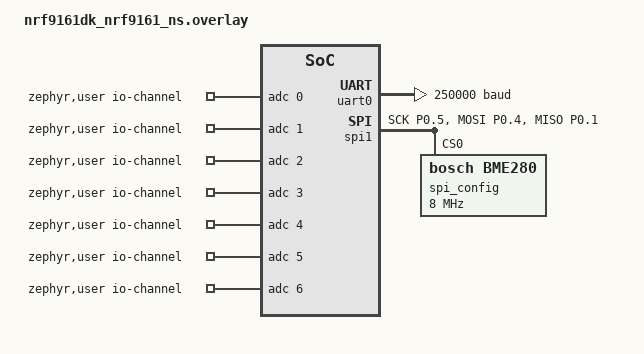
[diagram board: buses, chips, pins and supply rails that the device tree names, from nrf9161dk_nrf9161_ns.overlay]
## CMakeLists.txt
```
#
# Copyright (c) 2018 Nordic Semiconductor ASA
#
# SPDX-License-Identifier: LicenseRef-Nordic-5-Clause
#

cmake_minimum_required(VERSION 3.20.0)

find_package(Zephyr REQUIRED HINTS $ENV{ZEPHYR_BASE})
project(cellular_fundamentals)

# NORDIC SDK APP START
target_sources(app PRIVATE src/drivers/APS6404L.c)
target_sources(app PRIVATE src/drivers/bme280.c)
target_sources(app PRIVATE src/mqtt_connection.c)
target_sources(app PRIVATE src/log_ram_backend.c)
target_sources(app PRIVATE src/eeprom_emul.c)
target_sources(app PRIVATE src/main.c)
target_sources(app PRIVATE src/unit_lib.c)
# NORDIC SDK APP END
```

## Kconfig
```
#
# Copyright (c) 2020 Nordic Semiconductor ASA
#
# SPDX-License-Identifier: LicenseRef-Nordic-5-Clause
#

menu "Cellfund Lesson 4 Exercise"

config MQTT_PUB_TOPIC
	string "MQTT publish topic"
	default "NRF/XX/UP_STREAM"


config MQTT_PUB_SYS_TOPIC
    string "MQTT publish system topic"
    default "NRF/XX/UP_STREAM_SYS"
    help
      MQTT topic used for system uplink messages

config MQTT_PUB_SYS_LOG_TOPIC
    string "MQTT publish system log topic"
    default "NRF/XX/UP_STREAM_SYS_LOG"
    help
      MQTT topic used for system uplink messages



config MQTT_SUB_TOPIC
	string "MQTT subscribe topic"
	default "NRF/XX/DOWN_STREAM"

config MQTT_CLIENT_ID
	string "MQTT Client ID"
	help
	  Use a custom Client ID string. If not set, the client ID will be
	  generated based on IMEI number (for nRF91 Series based targets) or
	  randomly (for other platforms).
	default ""

config MQTT_BROKER_HOSTNAME
	string "MQTT broker hostname"
	default "mqtt.nordicsemi.academy"

config MQTT_BROKER_PORT
	int "MQTT broker port"
	default 1883

config MQTT_MESSAGE_BUFFER_SIZE
	int "MQTT message buffer size"
	default 128

config MQTT_PAYLOAD_BUFFER_SIZE
	int "MQTT payload buffer size"
	default 128

config BUTTON_EVENT_PUBLISH_MSG
	string "The message to publish on a button event"
	default "Hi from nRF91 Series device"

config TURN_LED_ON_CMD
	string "Command to turn on LED"
	default "LED1ON"

config TURN_LED_OFF_CMD
	string "Command to turn off LED"
	default "LED1OFF"

config MQTT_RECONNECT_DELAY_S
	int "Seconds to delay before attempting to reconnect to the broker."
	default 60

endmenu

source "Kconfig.zephyr"
```

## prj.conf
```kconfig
#
# Copyright (c) 2020 Nordic Semiconductor ASA
#
# SPDX-License-Identifier: LicenseRef-Nordic-5-Clause
#

# Logging
CONFIG_LOG=y
CONFIG_LOG_MODE_DEFERRED=y
CONFIG_LOG_BUFFER_SIZE=4096
CONFIG_LOG_BACKEND_UART=y
CONFIG_TFM_LOG_LEVEL_SILENCE=y
CONFIG_UART_CONSOLE=y
CONFIG_RING_BUFFER=y
CONFIG_LOG_PRINTK=n

CONFIG_CBPRINTF_FP_SUPPORT=y
CONFIG_RESET_ON_FATAL_ERROR=n
CONFIG_TFM_SECURE_UART=n





CONFIG_CLOCK_CONTROL=y
CONFIG_CLOCK_CONTROL_NRF=y




# Flash + EEPROM emulation
CONFIG_FLASH=y
CONFIG_FLASH_MAP=y
CONFIG_NVS=y

CONFIG_NVS_LOG_LEVEL_INF=y

# Pokud používáš externí SPI flash
##CONFIG_SPI=y
CONFIG_FLASH_PAGE_LAYOUT=y





# Button and LED support
CONFIG_DK_LIBRARY=y

# Newlib
CONFIG_NEWLIB_LIBC=y


CONFIG_ADC=y
CONFIG_NRFX_SAADC=y
CONFIG_NRFX_TIMER0=y

CONFIG_GPIO=y
CONFIG_NRFX_SPIM1=y
CONFIG_SPI_NRFX_RAM_BUFFER_SIZE=256



CONFIG_DATE_TIME=y
CONFIG_DATE_TIME_MODEM=y        # Use modem-provided network time
CONFIG_DATE_TIME_AUTO_UPDATE=y  # Auto-update after LTE connects



CONFIG_REBOOT=y



# Networking
CONFIG_NETWORKING=y
CONFIG_NET_NATIVE=n
CONFIG_NET_SOCKETS_OFFLOAD=y
CONFIG_NET_SOCKETS=y
CONFIG_POSIX_API=y
CONFIG_NET_IPV4=y
#CONFIG_NET_SOCKETS_POSIX_NAMES=y
# Memory



CONFIG_MAIN_STACK_SIZE=16384
CONFIG_HEAP_MEM_POOL_SIZE=16384
CONFIG_SYSTEM_WORKQUEUE_STACK_SIZE=16384
#CONFIG_THREAD_STACK_SIZE=4096
#CONFIG_HEAP_MEM_POOL_SIZE=2048




CONFIG_STACK_SENTINEL=y
CONFIG_STACK_CANARIES=y
CONFIG_THREAD_NAME=y




# Modem library
CONFIG_MODEM_INFO=y
CONFIG_NRF_MODEM_LIB=y

# LTE link control
CONFIG_LTE_LINK_CONTROL=y
CONFIG_LTE_NETWORK_MODE_LTE_M_NBIOT=y

# MQTT
# STEP 2.1 - Enable and configure the MQTT library
CONFIG_MQTT_LIB=y
CONFIG_MQTT_CLEAN_SESSION=y

# Application
# STEP 2.2 - Configure the broker name, TCP port, topic names, and message
CONFIG_MQTT_PUB_TOPIC="NRF/10/UP_STREAM"
CONFIG_MQTT_PUB_SYS_TOPIC="NRF/10/UP_STREAM_SYS"
CONFIG_MQTT_PUB_SYS_LOG_TOPIC="NRF/10/UP_STREAM_SYS_LOG"
CONFIG_MQTT_SUB_TOPIC="NRF/10/DOWN_STREAM"

CONFIG_BUTTON_EVENT_PUBLISH_MSG="Hi from the nRF91 Series device"
CONFIG_MQTT_BROKER_HOSTNAME="iot-course-but.cloud.shiftr.io"
CONFIG_MQTT_BROKER_PORT=1883


#CONFIG_MQTT_BROKER_HOSTNAME="mqtt.nordicsemi.academy"
#CONFIG_MQTT_BROKER_PORT=1883
```

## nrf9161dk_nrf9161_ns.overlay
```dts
// To get started, press Ctrl+Space to bring up the completion menu and view the available nodes.

// You can also use the buttons in the sidebar to perform actions on nodes.
// Actions currently available include:

// * Enabling / disabling the node
// * Adding the bus to a bus
// * Removing the node
// * Connecting ADC channels

// For more help, browse the DeviceTree documentation at https://docs.zephyrproject.org/latest/guides/dts/index.html
// You can also visit the nRF DeviceTree extension documentation at https://docs.nordicsemi.com/bundle/nrf-connect-vscode/page/guides/ncs_configure_app.html#devicetree-support-in-the-extension

/ {
	zephyr,user {
		io-channels = <&adc 0 &adc 1 &adc 2 &adc 3 &adc 4 &adc 5 &adc 6>;
	};

	
    chosen {
        zephyr,storage = &storage_partition;
    };
};



&i2c0 {	status = "disabled";};
&spi0 {	status = "disabled";};
&i2c1 {	status = "disabled";};


&uart0_default {
	/delete-node/ group2;

	group1 {
		psels = <NRF_PSEL(UART_TX, 0, 27)>, <NRF_PSEL(UART_RX, 0, 26)>;
	};

};


&uart0 {
	/delete-property/ hw-flow-control;
	current-speed = <250000>;
};





&arduino_adc {
	io-channel-map = <0 &adc 1>, <1 &adc 2>, <2 &adc 3>, <3 &adc 4>, <4 &adc 5>, <5 &adc 6>;
};

&uart0_sleep {
	/delete-node/ group2;

	group1 {
		psels = <NRF_PSEL(UART_TX, 0, 27)>, <NRF_PSEL(UART_RX, 0, 26)>;
	};
};


&spi1 {
    compatible = "nordic,nrf-spim";
	status = "okay";
	pinctrl-0 = <&spi1_default>;
	pinctrl-1 = <&spi1_sleep>;
	pinctrl-names = "default", "sleep";
	spi_config: spi_config@0 {
		compatible = "bosch,bme280";
		reg = <0>;
		spi-max-frequency = <8000000>; 
	};
};

/* STEP 2.2 - Change the pin configuration */
&pinctrl {
	spi1_default: spi1_default {
		group1 {
				psels = <NRF_PSEL(SPIM_SCK, 0, 5)>,
						<NRF_PSEL(SPIM_MOSI, 0, 4)>,
						<NRF_PSEL(SPIM_MISO, 0, 1)>;
		};
	};

	spi1_sleep: spi1_sleep {
		group1 {
				psels = <NRF_PSEL(SPIM_SCK, 0, 5)>,
						<NRF_PSEL(SPIM_MOSI, 0, 4)>,
						<NRF_PSEL(SPIM_MISO, 0, 1)>;
				low-power-enable;
		};
	};
};
```

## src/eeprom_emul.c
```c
#include "eeprom_emul.h"

#include <zephyr/kernel.h>
#include <zephyr/device.h>
#include <zephyr/logging/log.h>
#include <zephyr/fs/nvs.h>
#include <zephyr/drivers/flash.h>
#include <zephyr/storage/flash_map.h>

LOG_MODULE_REGISTER(eeprom_emul, LOG_LEVEL_INF);

/* NVS filesystem instance */
static struct nvs_fs fs;

/* ---------------------------------------------------- */
/* INIT                                                 */
/* ---------------------------------------------------- */

int eeprom_emul_init(void)
{
    int rc;
    struct flash_pages_info info;

    fs.flash_device = FIXED_PARTITION_DEVICE(storage_partition);
    if (!device_is_ready(fs.flash_device))
    {
        LOG_ERR("Flash device not ready");
        return -ENODEV;
    }

    fs.offset = FIXED_PARTITION_OFFSET(storage_partition);

    rc = flash_get_page_info_by_offs(fs.flash_device,
                                    fs.offset,
                                    &info);
    if (rc)
    {
        LOG_ERR("flash_get_page_info failed (%d)", rc);
        return rc;
    }

    fs.sector_size  = info.size;
    fs.sector_count = 4;   /* wear leveling */

    rc = nvs_mount(&fs);
    if (rc)
    {
        LOG_ERR("NVS mount failed (%d)", rc);
        return rc;
    }

    LOG_INF("EEPROM emulation initialized");
    return 0;
}

/* ---------------------------------------------------- */
/* BASIC TYPES                                          */
/* ---------------------------------------------------- */

int eeprom_emul_write_u16(eeprom_key_t key, uint16_t value)
{
    return nvs_write(&fs, key, &value, sizeof(value));
}

int eeprom_emul_read_u16(eeprom_key_t key, uint16_t *value)
{
    int rc = nvs_read(&fs, key, value, sizeof(*value));
    return (rc > 0) ? 0 : rc;
}

int eeprom_emul_write_u32(eeprom_key_t key, uint32_t value)
{
    return nvs_write(&fs, key, &value, sizeof(value));
}

int eeprom_emul_read_u32(eeprom_key_t key, uint32_t *value)
{
    int rc = nvs_read(&fs, key, value, sizeof(*value));
    return (rc > 0) ? 0 : rc;
}

/* ---------------------------------------------------- */
/* BLOB                                                 */
/* ---------------------------------------------------- */

int eeprom_emul_write_blob(eeprom_key_t key,
                           const void *data,
                           uint16_t len)
{
    return nvs_write(&fs, key, data, len);
}

int eeprom_emul_read_blob(eeprom_key_t key,
                          void *data,
                          uint16_t len)
{
    int rc = nvs_read(&fs, key, data, len);
    return (rc > 0) ? 0 : rc;
}
```

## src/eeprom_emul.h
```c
#ifndef EEPROM_EMUL_H_
#define EEPROM_EMUL_H_

#include <stdint.h>

/*
 * EEPROM emulation based on Zephyr NVS
 * Designed for nRF9161
 *
 * Persistent storage for:
 *  - trigger thresholds
 *  - unit configuration
 *  - counters
 */

/* EEPROM key IDs */
typedef enum
{
    EEPROM_KEY_END_TRIG_DURATION  = 0x00,
    EEPROM_KEY_TRIG_START     = 0x01,
    EEPROM_KEY_TRIG_END       = 0x02,
    EEPROM_KEY_NR_OF_SMPLS    = 0x03,
    EEPROM_KEY_BME280_ENA    = 0x04
} eeprom_key_t;

/* API */
int eeprom_emul_init(void);

/* uint16 */
int eeprom_emul_write_u16(eeprom_key_t key, uint16_t value);
int eeprom_emul_read_u16(eeprom_key_t key, uint16_t *value);

/* uint32 */
int eeprom_emul_write_u32(eeprom_key_t key, uint32_t value);
int eeprom_emul_read_u32(eeprom_key_t key, uint32_t *value);

/* raw blob */
int eeprom_emul_write_blob(eeprom_key_t key, const void *data, uint16_t len);
int eeprom_emul_read_blob(eeprom_key_t key, void *data, uint16_t len);

#endif /* EEPROM_EMUL_H_ */
```

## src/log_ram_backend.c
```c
#include "log_ram_backend.h"

#include <zephyr/logging/log_backend.h>
#include <zephyr/logging/log_output.h>
#include <zephyr/kernel.h>
#include <string.h>
#include <stdio.h>

/*
 * Retention RAM (noinit):
 * - NEinicializuje se při resetu
 * - zůstane zachována
 */
__attribute__((section(".noinit")))
struct log_ram_retention log_ram_ret;

/* Log output helper */
static uint8_t log_output_buf[128];

static int ram_output_func(uint8_t *data, size_t length, void *ctx)
{
    ARG_UNUSED(ctx);
    ring_buf_put(&log_ram_ret.rb, data, length);
    return length;
}

LOG_OUTPUT_DEFINE(log_output,
                  ram_output_func,
                  log_output_buf,
                  sizeof(log_output_buf));

/* === BACKEND PROCESS === */
static void log_ram_process(const struct log_backend *backend,
                            union log_msg_generic *msg)
{
    char ts_buf[32];
    uint64_t ts_ms = k_uptime_get();

    int ts_len = snprintk(ts_buf, sizeof(ts_buf),
                          "[%llu]\t",
                          ts_ms);

    if (ts_len > 0) {
        ring_buf_put(&log_ram_ret.rb,
                     (uint8_t *)ts_buf,
                     ts_len);
    }

    log_output_msg_process(&log_output, msg, backend);
}

static const struct log_backend_api log_ram_backend_api = {
    .process = log_ram_process,
};

LOG_BACKEND_DEFINE(log_ram_backend,
                   log_ram_backend_api,
                   true);

/* === INIT RETENTION === */
static int log_ram_init(const struct device *dev)
{
    ARG_UNUSED(dev);

    if (log_ram_ret.magic != LOG_RAM_MAGIC) {
        /* První start nebo power‑on */
        memset(&log_ram_ret, 0, sizeof(log_ram_ret));
        log_ram_ret.magic = LOG_RAM_MAGIC;

        ring_buf_init(&log_ram_ret.rb,
                      LOG_RAM_BUFFER_SIZE,
                      log_ram_ret.buffer);
    }

    return 0;
}

/* Spustí se velmi brzy při bootu */
SYS_INIT(log_ram_init, PRE_KERNEL_1, 0);

/* === PUBLIC API === */

uint32_t log_ram_read(uint8_t *data, uint32_t len)
{
    return ring_buf_get(&log_ram_ret.rb, data, len);
}

void log_ram_clear(void)
{
    ring_buf_reset(&log_ram_ret.rb);
}

bool log_ram_is_retained(void)
{
    return (log_ram_ret.magic == LOG_RAM_MAGIC);
}
```

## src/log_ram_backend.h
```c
#ifndef LOG_RAM_BACKEND_H
#define LOG_RAM_BACKEND_H

#include <zephyr/kernel.h>
#include <zephyr/sys/ring_buffer.h>
#include <stdint.h>

#ifdef __cplusplus
extern "C" {
#endif

#define LOG_RAM_BUFFER_SIZE 4096
#define LOG_RAM_MAGIC       0x4C4F4752  /* 'LOGR' */

/* Retention struktura */
struct log_ram_retention {
    uint32_t magic;
    struct ring_buf rb;
    uint8_t buffer[LOG_RAM_BUFFER_SIZE];
};

extern struct log_ram_retention log_ram_ret;

/* API */
uint32_t log_ram_read(uint8_t *data, uint32_t len);
void log_ram_clear(void);
bool log_ram_is_retained(void);

#ifdef __cplusplus
}
#endif

#endif /* LOG_RAM_BACKEND_H */
```

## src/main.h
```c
#ifndef _MAIN_H_
#define _MAIN_H_

#define DEFAULT_BME280_USAGE_SETUP 0

#define SPIM_INST_IDX 1
#define MOSI_PIN 4
#define MISO_PIN 1
#define SCK_PIN 5
#define MEM_CS_PIN 0
#define BME_CS_PIN 7

// #define SAMPLE_PRINTING_ENABLED
// #define CIRC_BUFF_STAMP_VALUE_ADD

#define ALPHA_NUM 1  // Numerator of alpha (e.g., 1)
#define ALPHA_DEN 25 // Denominator of alpha (e.g., 10) → alpha = 0.1

#define DEFAULT_START_RMS_TRIG_TRESHOLD 100
#define DEFAULT_END_RMS_TRIG_TRESHOLD 100
#define DEFAULTRMS_LOW_SAMPLES_TO_TRIGGER_END 8000 // cca 4 sec   2000smp=1sec

#define RMS_BUFFER_SIZE 100

#define NR_OF_SAMPLES_TO_MEASURE 3*27000 // 13500

#define RES_VAR_LEN 5000

#define WAVE_SAMPLE_LEN 1024 // MUST BE SAME AS CRCLR_BUFF_SIZE

#define CRCLR_BUFF_SIZE 1024 // MUST BE SAME AS WAVE_SAMPLE_LEN

#define FLASH_BYTE_READ_OUT_LEN 8 // POZOR OMEZENI VE FCI FLASH READ v driver knihovne, na max 32

/** @brief Symbol specifying time in milliseconds to wait for handler execution. */
#define TIME_TO_WAIT_US 500UL

#define DAQ_TIME_US 40

#define ADC_NODE DT_IO_CHANNELS_CTLR(DT_PATH(zephyr_user))

#define CHANNEL_0 0
#define CHANNEL_1 1
#define CHANNEL_2 2
#define CHANNEL_3 3
#define CHANNEL_4 4

#define BUFFER_WIDTH 4
#define BUFFER_LENGTH 4

// nt buffer[BUFFER_SIZE] = {0};
// int index = 0;

/** @brief Symbol specifying timer instance to be used. */
#define TIMER_INST_IDX 0

#define LOG_MANIPULATION_BUFF_LEN 64

#include <stdint.h>
#include <stddef.h>
#include <stdint.h>
#include <stdio.h>
#include <ncs_version.h>
#include <zephyr/kernel.h>
#include <zephyr/net/socket.h>
#include <poll.h>
#include <zephyr/types.h>


#include <zephyr/device.h>
#include <zephyr/drivers/clock_control.h>
#include <zephyr/drivers/clock_control/nrf_clock_control.h>



#include <zephyr/logging/log.h>
#include <dk_buttons_and_leds.h>
#include <modem/nrf_modem_lib.h>
#include <modem/lte_lc.h>
#include <modem/modem_info.h>
#include <hal/nrf_clock.h>

/* STEP 2.3 - Include the header file for the MQTT Library*/
#include <zephyr/net/mqtt.h>

#include "mqtt_connection.h"

#include <zephyr/drivers/adc.h>
#include <hal/nrf_saadc.h>
#include <nrfx_timer.h>

#include <date_time.h>

#include <nrfx_spim.h>
#include "../include/drivers/APS6404L.h"
#include "../include/drivers/bme280.h"
#include "unit_lib.h"

#include <zephyr/sys/reboot.h>
#include <math.h>
// #include <clock.h>

#include <sys/_types.h>

#include "log_ram_backend.h"

#include "eeprom_emul.h"

/* ============================
 *  Konfigurační konstanty
 * ============================ */

/* ============================
 *  Datové struktury
 * ============================ */

struct __attribute__((__packed__)) data_packet_t
{
    uint16_t packet_header;
    uint16_t packet_version;
    uint16_t actual_packet_nr;
    uint16_t total_packet_nr;
    uint32_t timestamp;
    uint32_t total_sample_count;
    uint16_t train_counter;

    int16_t chan_0_vlt[WAVE_SAMPLE_LEN];
    int16_t chan_0_int[WAVE_SAMPLE_LEN];
    int16_t chan_1_vlt[WAVE_SAMPLE_LEN];
    int16_t chan_1_int[WAVE_SAMPLE_LEN];

    uint16_t CRC;
};

struct __attribute__((__packed__)) servis_packet_t
{
    uint16_t packet_header;
    uint8_t packet_ver_major;
    uint8_t packet_ver_minor;
    uint8_t hw_ver_major;
    uint8_t hw_ver_minor;
    uint8_t sw_ver_major;
    uint8_t sw_ver_minor;
    uint32_t timestamp;
    uint16_t reserve_word;
    uint16_t packet_counter;
    uint16_t batt_voltage;
    int32_t unit_temperature;
    uint32_t unit_humidity;
    uint32_t unit_pressure;
    uint32_t IMEI;
    uint32_t DEV_ID;
    uint16_t train_counter;
    uint16_t pwr_cycle_counter;
    uint32_t uptime_minutes;
    uint32_t last_powercycle_timestamp;
    uint16_t unit_status_bits;
    int16_t signal_strength;
    int16_t signal_rsrp;
    int16_t signal_rsrq;
    int16_t signal_snr;
    uint16_t modem_status_word;
    float GPS_lat;
    float GPS_lon;
    float GPS_alt;
    uint16_t CRC;

};

/* ============================
 *  Veřejné proměnné (OMEZENĚ)
 * ============================ */

/* Konfigurovatelné přes MQTT / EEPROM */
extern uint16_t rms_trig_start;
extern uint16_t rms_trig_end;
extern uint16_t rms_trig_end_duration;

/* CFG buffer z MQTT */
extern char cfg_buff[256];
extern uint8_t config_request_flag;

/* ============================
 *  Veřejné funkce
 * ============================ */

/* MQTT / LTE */
uint8_t init_modem_and_mqtt(void);
int8_t mqtt_pooling_procedure(void);

/* Přenos dat */

void send_measured_train_data_with_multiple_packets(void);
void send_measured_train_data_with_multiple_packets_from_flash(void);

/* DAQ / DSP pomocné funkce */
void add_samples_to_buffer(int16_t samples[BUFFER_WIDTH],
                           int16_t buffer[BUFFER_LENGTH][BUFFER_WIDTH]);

void average_of_vectors(int16_t array[BUFFER_LENGTH][BUFFER_WIDTH],
                        int16_t averages[BUFFER_WIDTH]);

int32_t exponential_filter(int32_t previous_filtered, int32_t new_sample);

int32_t update_rms(int32_t *buffer,
                   size_t *index,
                   int64_t *sum_squares,
                   int32_t new_sample);

/* Circular buffer */
void circular_buffer_init(void);
uint16_t circular_buffer_add_value(int16_t v0,
                                   int16_t v1,
                                   int16_t v2,
                                   int16_t v3);

/* Utility */
void rtcc_init(void);
void rtcc_update_unix_time(uint32_t unix_time_s);
uint32_t rtcc_get_unix_time(void);

void modem_get_time_procedure(void);
void test_flash(void);

#endif /* APP_MAIN_H_ */
```

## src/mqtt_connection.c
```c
#include <stdio.h>
#include <string.h>
#include <stdbool.h>
#include <ncs_version.h>

#include <zephyr/logging/log.h>
#include <zephyr/kernel.h>
#include <zephyr/net/socket.h>
#include <zephyr/net/mqtt.h>
#include <nrf_modem_at.h>

#include <dk_buttons_and_leds.h>
#include "mqtt_connection.h"

#include <zephyr/random/random.h>



static struct mqtt_utf8 username = {
	.utf8 = (uint8_t *)"iot-course-but",
	.size = sizeof("iot-course-but") - 1
};

static struct mqtt_utf8 password = {
	.utf8 = (uint8_t *)"thisisthemostsecretsecretever",
	.size = sizeof("thisisthemostsecretsecretever") - 1
};


/* Buffers for MQTT client. */
static uint8_t rx_buffer[MQTT_BUFFER_SIZE];
static uint8_t tx_buffer[MQTT_BUFFER_SIZE];
static uint8_t payload_buf[MQTT_BUFFER_SIZE];

extern uint8_t mqtt_trigger_reset;
extern uint8_t first_alive_flag;
extern uint8_t dump_log_flag;
extern uint8_t mqtt_skip_init_procedure;

extern uint8_t config_request_flag;

extern char cfg_buff[256];


/* MQTT Broker details. */
static struct sockaddr_storage broker;

LOG_MODULE_DECLARE(LIS); //Lesson4_Exercise1




bool compare_buffer_to_text(const unsigned char buffer[2048], const char *static_text) {
    char temp[4];  // 3 characters + null terminator

    // Copy buffer to temp and null-terminate
    memcpy(temp, buffer, 3);
    temp[3] = '\0';

    // Compare using strcmp
    return strcmp(temp, static_text) == 0;
}






/**@brief Function to get the payload of recived data.
 */
static int get_received_payload(struct mqtt_client *c, size_t length)
{
	int ret;
	int err = 0;

	/* Return an error if the payload is larger than the payload buffer.
	 * Note: To allow new messages, we have to read the payload before returning.
	 */
	if (length > sizeof(payload_buf)) {
		err = -EMSGSIZE;
	}

	/* Truncate payload until it fits in the payload buffer. */
	while (length > sizeof(payload_buf)) {
		ret = mqtt_read_publish_payload_blocking(
				c, payload_buf, (length - sizeof(payload_buf)));
		if (ret == 0) {
			return -EIO;
		} else if (ret < 0) {
			return ret;
		}

		length -= ret;
	}

	ret = mqtt_readall_publish_payload(c, payload_buf, length);
	if (ret) {
		return ret;
	}

	return err;
}

/**@brief Function to subscribe to the configured topic
 */
/* STEP 4 - Define the function subscribe() to subscribe to a specific topic.  */
static int subscribe(struct mqtt_client *const c)
{
	struct mqtt_topic subscribe_topic = {
		.topic = {
			.utf8 = CONFIG_MQTT_SUB_TOPIC,
			.size = strlen(CONFIG_MQTT_SUB_TOPIC)
		},
		.qos = MQTT_QOS_1_AT_LEAST_ONCE
	};

	const struct mqtt_subscription_list subscription_list = {
		.list = &subscribe_topic,
		.list_count = 1,
		.message_id = 1234
	};

	LOG_INF("Subscribing to: %s len %u", CONFIG_MQTT_SUB_TOPIC,
		(unsigned int)strlen(CONFIG_MQTT_SUB_TOPIC));

	return mqtt_subscribe(c, &subscription_list);
}

/**@brief Function to print strings without null-termination
 */
static void data_print(uint8_t *prefix, uint8_t *data, size_t len)
{
	char buf[len + 1];

	memcpy(buf, data, len);
	buf[len] = 0;
	LOG_INF("%s%s", (char *)prefix, (char *)buf);
}

/**@brief Function to publish data on the configured topic
 */
/* STEP 7.1 - Define the function data_publish() to publish data */
int data_publish(struct mqtt_client *c, enum mqtt_qos qos,
	uint8_t *data, size_t len)
{
	struct mqtt_publish_param param;

	param.message.topic.qos = qos;
	param.message.topic.topic.utf8 = CONFIG_MQTT_PUB_TOPIC;
	param.message.topic.topic.size = strlen(CONFIG_MQTT_PUB_TOPIC);
	param.message.payload.data = data;
	param.message.payload.len = len;
	param.message_id = sys_rand32_get();
	param.dup_flag = 0;
	param.retain_flag = 0;

	//data_print("Publishing: ", data, len);
	LOG_INF("to topic: %s len: %u",
		CONFIG_MQTT_PUB_TOPIC,
		(unsigned int)strlen(CONFIG_MQTT_PUB_TOPIC));

	return mqtt_publish(c, &param);
}


int sys_data_publish(struct mqtt_client *c, enum mqtt_qos qos,
	uint8_t *data, size_t len)
{
	struct mqtt_publish_param param;

	param.message.topic.qos = qos;
	param.message.topic.topic.utf8 = CONFIG_MQTT_PUB_SYS_TOPIC;
	param.message.topic.topic.size = strlen(CONFIG_MQTT_PUB_SYS_TOPIC);
	param.message.payload.data = data;
	param.message.payload.len = len;
	param.message_id = sys_rand32_get();
	param.dup_flag = 0;
	param.retain_flag = 0;

	//data_print("Publishing: ", data, len);
	LOG_INF("to topic: %s len: %u",
		CONFIG_MQTT_PUB_SYS_TOPIC,
		(unsigned int)strlen(CONFIG_MQTT_PUB_SYS_TOPIC));

	return mqtt_publish(c, &param);
}

int sys_log_data_publish(struct mqtt_client *c, enum mqtt_qos qos,
	uint8_t *data, size_t len)
{
	struct mqtt_publish_param param;

	param.message.topic.qos = qos;
	param.message.topic.topic.utf8 = CONFIG_MQTT_PUB_SYS_LOG_TOPIC;
	param.message.topic.topic.size = strlen(CONFIG_MQTT_PUB_SYS_LOG_TOPIC);
	param.message.payload.data = data;
	param.message.payload.len = len;
	param.message_id = sys_rand32_get();
	param.dup_flag = 0;
	param.retain_flag = 0;
	printk("%s pub bytes: %u\n",CONFIG_MQTT_PUB_SYS_LOG_TOPIC,len);
	return mqtt_publish(c, &param);
}


/**@brief MQTT client event handler
 */
void mqtt_evt_handler(struct mqtt_client *const c,
		      const struct mqtt_evt *evt)
{
	int err;

	switch (evt->type) {
	case MQTT_EVT_CONNACK:
	/* STEP 5 - Subscribe to the topic CONFIG_MQTT_SUB_TOPIC when we have a successful connection */
		if (evt->result != 0) {
			LOG_ERR("MQTT connect failed: %d", evt->result);
			break;
		}

		LOG_INF("MQTT client connected");
		subscribe(c);
		break;

	case MQTT_EVT_DISCONNECT:
		LOG_INF("MQTT client disconnected: %d", evt->result);
		break;

	case MQTT_EVT_PUBLISH:
	/* STEP 6 - Listen to published messages received from the broker and extract the message */
	{
		/* STEP 6.1 - Extract the payload */
		const struct mqtt_publish_param *p = &evt->param.publish;
		//Print the length of the recived message 
		LOG_INF("MQTT PUBLISH result=%d len=%d",
			evt->result, p->message.payload.len);

		//Extract the data of the recived message 
		err = get_received_payload(c, p->message.payload.len);
		
		//Send acknowledgment to the broker on receiving QoS1 publish message 
		if (p->message.topic.qos == MQTT_QOS_1_AT_LEAST_ONCE) {
			const struct mqtt_puback_param ack = {
				.message_id = p->message_id
			};

			/* Send acknowledgment. */
			mqtt_publish_qos1_ack(c, &ack);
		}

		/* STEP 6.2 - On successful extraction of data */
		if (err >= 0) {
			data_print("Received CMD: ", payload_buf, p->message.payload.len);

		    if (compare_buffer_to_text(payload_buf,"RST")) {
				LOG_INF("request reset ...");
				mqtt_trigger_reset=1;
				first_alive_flag=0; // je nutno nastavit aby se vyhnul prechodu do norm stavu
			}

		    if (compare_buffer_to_text(payload_buf,"LDM")) { // DUMP LOG
				LOG_INF("request logs dump ...");
				dump_log_flag=1;
			}

		    if (compare_buffer_to_text(payload_buf,"SKP")) {
				LOG_INF("request skip pooling procedure ...");
				mqtt_skip_init_procedure=1;
			}
			

		    if (compare_buffer_to_text(payload_buf,"CFG")) {
				LOG_INF("config request received ...");
  				memcpy(cfg_buff, payload_buf, p->message.payload.len);
				config_request_flag=1;
			}
						
		} else if (err == -EMSGSIZE) {
			LOG_ERR("Received payload (%d bytes) is larger than the payload buffer size (%d bytes).",
				p->message.payload.len, sizeof(payload_buf));
		// Failed to extract data, disconnect 
		} else {
			LOG_ERR("get_received_payload failed: %d", err);
			LOG_INF("Disconnecting MQTT client...");

			err = mqtt_disconnect(c);
			if (err) {
				LOG_ERR("Could not disconnect: %d", err);
			}
		}
	} break;

	case MQTT_EVT_PUBACK:
		if (evt->result != 0) {
			LOG_ERR("MQTT PUBACK error: %d", evt->result);
			break;
		}

		LOG_INF("PUBACK packet id: %u", evt->param.puback.message_id);
		break;

	case MQTT_EVT_SUBACK:
		if (evt->result != 0) {
			LOG_ERR("MQTT SUBACK error: %d", evt->result);
			break;
		}

		LOG_INF("SUBACK packet id: %u", evt->param.suback.message_id);
		break;

	case MQTT_EVT_PINGRESP:
		if (evt->result != 0) {
			LOG_ERR("MQTT PINGRESP error: %d", evt->result);
		}
		break;

	default:
		LOG_INF("Unhandled MQTT event type: %d", evt->type);
		break;
	}
}

/**@brief Resolves the configured hostname and
 * initializes the MQTT broker structure
 */
static int broker_init(void)
{
	int err;
	struct addrinfo *result;
	struct addrinfo *addr;
	struct addrinfo hints = {
		.ai_family = AF_INET,
		.ai_socktype = SOCK_STREAM
	};

	err = getaddrinfo(CONFIG_MQTT_BROKER_HOSTNAME, NULL, &hints, &result);
	if (err) {
		LOG_ERR("getaddrinfo failed: %d", err);
		return -ECHILD;
	}

	addr = result;

	/* Look for address of the broker. */
	while (addr != NULL) {
		/* IPv4 Address. */
		if (addr->ai_addrlen == sizeof(struct sockaddr_in)) {
			struct sockaddr_in *broker4 =
				((struct sockaddr_in *)&broker);
			char ipv4_addr[NET_IPV4_ADDR_LEN];

			broker4->sin_addr.s_addr =
				((struct sockaddr_in *)addr->ai_addr)
				->sin_addr.s_addr;
			broker4->sin_family = AF_INET;
			broker4->sin_port = htons(CONFIG_MQTT_BROKER_PORT);

			inet_ntop(AF_INET, &broker4->sin_addr.s_addr,
				  ipv4_addr, sizeof(ipv4_addr));
			LOG_INF("IPv4 Address found %s", (char *)(ipv4_addr));

			break;
		} else {
			LOG_ERR("ai_addrlen = %u should be %u or %u",
				(unsigned int)addr->ai_addrlen,
				(unsigned int)sizeof(struct sockaddr_in),
				(unsigned int)sizeof(struct sockaddr_in6));
		}

		addr = addr->ai_next;
	}

	/* Free the address. */
	freeaddrinfo(result);

	return err;
}

/* Function to get the client id */
static const uint8_t* client_id_get(void)
{
	static uint8_t client_id[MAX(sizeof(CONFIG_MQTT_CLIENT_ID),
				     CLIENT_ID_LEN)];

	if (strlen(CONFIG_MQTT_CLIENT_ID) > 0) {
		snprintf(client_id, sizeof(client_id), "%s",
			 CONFIG_MQTT_CLIENT_ID);
		goto exit;
	}

	char imei_buf[CGSN_RESPONSE_LENGTH + 1];
	int err;

	err = nrf_modem_at_cmd(imei_buf, sizeof(imei_buf), "AT+CGSN");
	if (err) {
		LOG_ERR("Failed to obtain IMEI, error: %d", err);
		goto exit;
	}

	imei_buf[IMEI_LEN] = '\0';

	snprintf(client_id, sizeof(client_id), "nrf-%.*s", IMEI_LEN, imei_buf);

exit:
	LOG_DBG("client_id = %s", (char *)(client_id));

	return client_id;
}


/**@brief Initialize the MQTT client structure
 */
/* STEP 3 - Define the function client_init() to initialize the MQTT client instance.  */
int client_init(struct mqtt_client *client)
{
	int err;
	/* Initializes the client instance. */
	mqtt_client_init(client);

	/* Resolves the configured hostname and initializes the MQTT broker structure */
	err = broker_init();
	if (err) {
		LOG_ERR("Failed to initialize broker connection");
		return err;
	}

	/* MQTT client configuration */
	client->broker = &broker;
	client->evt_cb = mqtt_evt_handler;
	client->client_id.utf8 = client_id_get();
	client->client_id.size = strlen(client->client_id.utf8);

	client->password = &password;
	client->user_name = &username;
	client->protocol_version = MQTT_VERSION_3_1_1;

	/* MQTT buffers configuration */
	client->rx_buf = rx_buffer;
	client->rx_buf_size = sizeof(rx_buffer);
	client->tx_buf = tx_buffer;
	client->tx_buf_size = sizeof(tx_buffer);
	

	/* We are not using TLS in Exercise 1 */
	client->transport.type = MQTT_TRANSPORT_NON_SECURE;


	return err;
}

/**@brief Initialize the file descriptor structure used by poll.
 */
int fds_init(struct mqtt_client *c, struct pollfd *fds)
{
	if (c->transport.type == MQTT_TRANSPORT_NON_SECURE) {
		fds->fd = c->transport.tcp.sock;
	} else {
		return -ENOTSUP;
	}

	fds->events = POLLIN;

	return 0;
}
```

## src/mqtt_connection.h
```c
#include <zephyr/net/socket.h>
#include <poll.h>
#include <netdb.h>
#include <zephyr/posix/arpa/inet.h>

#ifndef _MQTTCONNECTION_H_
#define _MQTTCONNECTION_H_
//#define LED_CONTROL_OVER_MQTT          DK_LED1 /*The LED to control over MQTT*/
#define IMEI_LEN 15
#define CGSN_RESPONSE_LENGTH (IMEI_LEN + 6 + 1) /* Add 6 for \r\nOK\r\n and 1 for \0 */
#define CLIENT_ID_LEN sizeof("nrf-") + IMEI_LEN
#define MQTT_BUFFER_SIZE 2048

//	client->password->utf8 = "thisisthemostsecretsecretever";
	//client->user_name->utf8 = "iot-course-but";







/**@brief Initialize the MQTT client structure
 */
int client_init(struct mqtt_client *client);

/**@brief Initialize the file descriptor structure used by poll.
 */
int fds_init(struct mqtt_client *c, struct pollfd *fds);

/**@brief Function to publish data on the configured topic
 */
int data_publish(struct mqtt_client *c, enum mqtt_qos qos,
	uint8_t *data, size_t len);

int sys_data_publish(struct mqtt_client *c, enum mqtt_qos qos,
	uint8_t *data, size_t len);
	
int sys_log_data_publish(struct mqtt_client *c, enum mqtt_qos qos,
	uint8_t *data, size_t len);
#endif /* _CONNECTION_H_ */
```

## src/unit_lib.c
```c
#include "unit_lib.h"



uint16_t crc16_ccitt_jch(uint8_t *data, uint8_t length)
{
	uint16_t crc = 0xFFFF;

	for (uint8_t i = 0; i < length; i++)
	{
		crc ^= ((uint16_t)data[i] << 8);

		for (uint8_t bit = 0; bit < 8; bit++)
		{
			if (crc & 0x8000)
				crc = (crc << 1) ^ 0x1021;
			else
				crc <<= 1;
		}
	}
	return crc;
}


void saturate_channel_values(int32_t *ch0, int32_t *ch1, int32_t *ch2, int32_t *ch3)
{
    if (*ch0 > 32750)  *ch0 = 32750;
    if (*ch0 < -32750) *ch0 = -32750;

    if (*ch1 > 32750)  *ch1 = 32750;
    if (*ch1 < -32750) *ch1 = -32750;

    if (*ch2 > 32750)  *ch2 = 32750;
    if (*ch2 < -32750) *ch2 = -32750;

    if (*ch3 > 32750)  *ch3 = 32750;
    if (*ch3 < -32750) *ch3 = -32750;
}



void clear_buffer(int16_t *buffer, size_t length)
{
	memset(buffer, 0, length * sizeof(int16_t));
}
```

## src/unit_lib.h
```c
#ifndef __UNIT_LIB__
#define	__UNIT_LIB__

#include <sys/_types.h>
#include <stdint.h>
#include <stdio.h>
#include <zephyr/types.h>
#include <string.h>

uint16_t crc16_ccitt_jch(uint8_t *data, uint8_t length);

void saturate_channel_values(int32_t *ch0, int32_t *ch1, int32_t *ch2, int32_t *ch3);

void clear_buffer(int16_t *buffer, size_t length);

#endif
```
